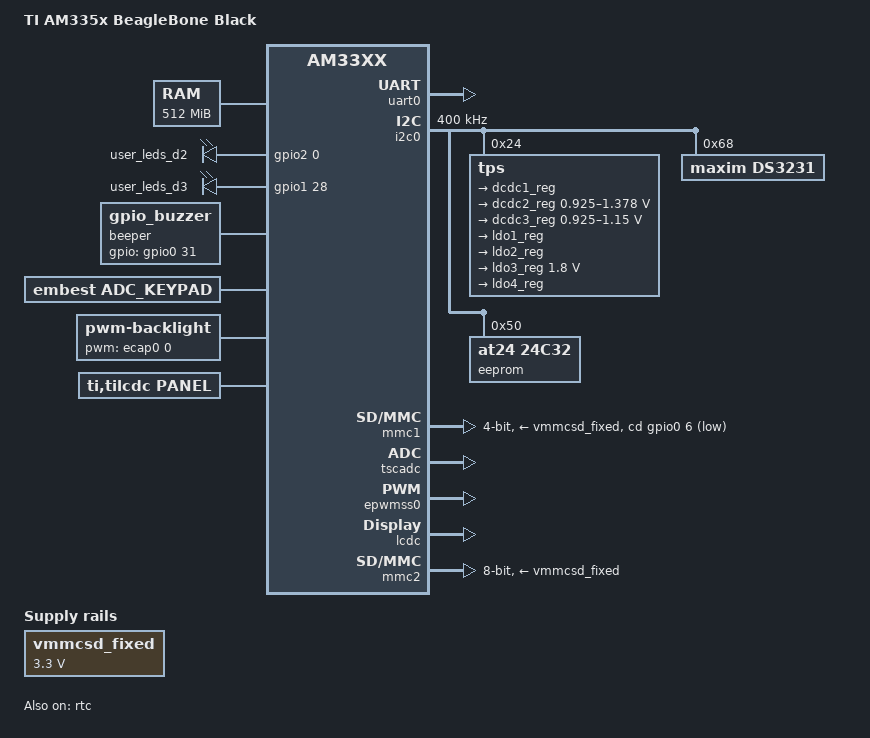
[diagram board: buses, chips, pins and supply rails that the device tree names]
/*
 * Copyright (C) 2015 Embest Technology Co., Ltd., - http://www.embest-tech.com
 *
 * This program is free software; you can redistribute it and/or modify
 * it under the terms of the GNU General Public License version 2 as
 * published by the Free Software Foundation.
 *
 * This dts is for embest own product:
 * SOM-PH8700 + BB-EPH1800
 */
/dts-v1/;

#include "am33xx.dtsi"

/ {
	model = "TI AM335x BeagleBone Black";
	compatible = "ti,am335x-bone-black", "ti,am335x-bone", "ti,am33xx";
	
	cpus {
		cpu@0 {
			cpu0-supply = <&dcdc2_reg>;
		};
	};
	
	memory {
		device_type = "memory";
		reg = <0x80000000 0x20000000>; /* 512 MB */
	};
	
	/* Voltage for mmc1 & mmc2 */
	vmmcsd_fixed: fixedregulator@0 {
		compatible = "regulator-fixed";
		regulator-name = "vmmcsd_fixed";
		regulator-min-microvolt = <3300000>;
		regulator-max-microvolt = <3300000>;
	};

	leds {
		pinctrl-names = "default";
		pinctrl-0 = <&user_leds>;

		compatible = "gpio-leds";

		led1 {
			label = "user_leds_d2";
			gpios = <&gpio2 0 GPIO_ACTIVE_HIGH>;
			linux,default-trigger = "none";
			default-state = "on";
		};

		led2 {
			label = "user_leds_d3";
			gpios = <&gpio1 28 GPIO_ACTIVE_HIGH>;
			linux,default-trigger = "none";
			default-state = "on";
		};
	};

	beeper {
		pinctrl-names = "default";
		pinctrl-0 = <&buzzer_pin>;
		compatible = "gpio_buzzer";
		gpios = <&gpio0 31 GPIO_ACTIVE_HIGH>;
	};

	adc_keypad{
		compatible = "embest, adc_keypad";
		status = "okay";

		key_name = "menu", "back";
		key_num = <2>;
		key_code = <139 102>;
		key_chan = <6 7>;
		key_val = <0 0>; 
		key_tolerance = <200 200>;
	};

	backlight {
		compatible = "pwm-backlight";
		pwms = <&ecap0 0 50000 0>;
		brightness-levels = <0 51 53 56 62 75 101 152 255>;
		default-brightness-level = <8>;
	};

	panel {
		compatible = "ti,tilcdc,panel";
		status = "okay";
		panel-info {
			ac-bias           = <255>;
			ac-bias-intrpt    = <0>;
			dma-burst-sz      = <16>;
			bpp               = <32>;
			fdd               = <0x80>;
			sync-edge         = <0>;
			sync-ctrl         = <1>;
			raster-order      = <0>;
			fifo-th           = <0>;
		};

		display-timings {
			/* This is the timing for 7inch_LCD */
			/*800x480p62 {
				clock-frequency = <36000000>;
				hactive = <800>;
				vactive = <480>;
				hfront-porch = <1>;
				hback-porch = <1>;
				hsync-len = <48>;
				vfront-porch = <12>;
				vback-porch = <25>;
				vsync-len = <5>;
				hsync-active = <0>;
				vsync-active = <0>;
				de-active = <1>;
				pixelclk-active = <1>;
			};*/

			/* This is the timing for 4.3inch_LCD */
			800x480p62 {
				clock-frequency = <30000000>;
				hactive = <480>;
				vactive = <272>;
				hfront-porch = <2>;
				hback-porch = <2>;
				hsync-len = <41>;
				vfront-porch = <2>;
				vback-porch = <2>;
				vsync-len = <10>;
				hsync-active = <0>;
				vsync-active = <0>;
			};

			/*This is the timing for HDMI&VGA*/
			/*1024x768p62 {
				clock-frequency = <80000000>;
				hactive = <1024>;
				vactive = <768>;
				hfront-porch = <18>;
				hback-porch = <297>;
				hsync-len = <53>;
				vfront-porch = <3>;
				vback-porch = <35>;
				vsync-len = <6>;
				hsync-active = <0>;
				vsync-active = <0>;
				de-active = <1>;
				pixelclk-active = <1>;
			};*/
		};
	};
};

&uart0 {
	pinctrl-names = "default";
	pinctrl-0 = <&uart0_pins>;
	status = "okay";
};

&i2c0 {
	pinctrl-names = "default";
	pinctrl-0 = <&i2c0_pins>;

	status = "okay";
	clock-frequency = <400000>;

	tps: tps@24 {
		reg = <0x24>;
	};

	ds3231: ds3231@68 {
		compatible = "maxim,ds3231";
		reg = <0x68>;
		status = "okay";
	};

	eeprom: eeprom@50 {
		compatible = "at24,24c32";
		reg = <0x50>;
	};
};

&mmc1 {
	vmmc-supply = <&vmmcsd_fixed>;
	bus-width = <0x4>;
	pinctrl-names = "default", "sleep";
	pinctrl-0 = <&mmc1_pins_default>;
	pinctrl-1 = <&mmc1_pins_sleep>;
	cd-gpios = <&gpio0 6 GPIO_ACTIVE_HIGH>;
	cd-inverted;
	status = "okay";
};

/* RTC */
&rtc {
	status = "okay";
};

&tscadc {
	status = "okay";

	tsc {
		ti,wires = <4>;
		ti,x-plate-resistance = <200>;
		ti,coordinate-readouts = <5>;
		ti,wire-config = <0x00 0x11 0x22 0x33>;
		ti,charge-delay = <0xf200>;
	};

	adc { 
		ti,adc-channels = <4 5 6 7>;
		ti,chan-step-opendelay = <0x098 0x3ffff 0x098 0x0>;
		ti,chan-step-sampledelay = <0xff 0x0 0xf 0x0>;
		ti,chan-step-avg = <16 2 4 8>; 
	};
};

&epwmss0 {
	status = "okay";

	ecap0: ecap@48300100 {
		status = "okay";
		pinctrl-names = "default";
		pinctrl-0 = <&ecap0_pins_default>;
	};
};

&lcdc {
	status = "okay";
	pinctrl-names = "default";
	pinctrl-0 = <&lcd_pins_default>;
};

/* eMMC sits on mmc2 */
&mmc2 {
	/*
	 * When enabling eMMC, disable GPMC/NAND and set
	 * SelEMMCorNAND to output-high
	 */
	status = "okay";
	vmmc-supply = <&vmmcsd_fixed>;
	bus-width = <8>;
	pinctrl-names = "default";
	pinctrl-0 = <&emmc_pins_default>;
};

/include/ "tps65217.dtsi"

&tps {
	/*
	 * Configure pmic to enter OFF-state instead of SLEEP-state ("RTC-only
	 * mode") at poweroff.  Most BeagleBone versions do not support RTC-only
	 * mode and risk hardware damage if this mode is entered.
	 *
	 * For details, see linux-omap mailing list May 2015 thread
	 *	[PATCH] ARM: dts: am335x-bone* enable pmic-shutdown-controller
	 * In particular, messages:
	 *	http://www.spinics.net/lists/linux-omap/msg118585.html
	 *	http://www.spinics.net/lists/linux-omap/msg118615.html
	 *
	 * You can override this later with
	 *	&tps {  /delete-property/ ti,pmic-shutdown-controller;  }
	 * if you want to use RTC-only mode and made sure you are not affected
	 * by the hardware problems. (Tip: double-check by performing a current
	 * measurement after shutdown: it should be less than 1 mA.)
	 */
	ti,pmic-shutdown-controller;

	regulators {
		dcdc1_reg: regulator@0 {
			regulator-name = "vdds_dpr";
			regulator-always-on;
		};

		dcdc2_reg: regulator@1 {
			/* VDD_MPU voltage limits 0.95V - 1.325V with +/-4% tolerance */
			regulator-name = "vdd_mpu";
			regulator-min-microvolt = <925000>;
			regulator-max-microvolt = <1378000>;
			regulator-boot-on;
			regulator-always-on;
		};

		dcdc3_reg: regulator@2 {
			/* VDD_CORE voltage limits 0.95V - 1.1V with +/-4% tolerance */
			regulator-name = "vdd_core";
			regulator-min-microvolt = <925000>;
			regulator-max-microvolt = <1150000>;
			regulator-boot-on;
			regulator-always-on;
		};

		ldo1_reg: regulator@3 {
			regulator-name = "vio,vrtc,vdds";
			regulator-always-on;
		};

		ldo2_reg: regulator@4 {
			regulator-name = "vdd_3v3aux";
			regulator-always-on;
		};

		ldo3_reg: regulator@5 {
			regulator-name = "vdd_1v8";
			regulator-always-on;
		};

		ldo4_reg: regulator@6 {
			regulator-name = "vdd_3v3a";
			regulator-always-on;
		};
	};
};

&ldo3_reg {
	regulator-min-microvolt = <1800000>;
	regulator-max-microvolt = <1800000>;
	regulator-always-on;
};

&am33xx_pinmux {
	/* UART0 pins: rxd & txd */
	uart0_pins: pinmux_uart0_pins {
		pinctrl-single,pins = <
			0x170 (PIN_INPUT_PULLUP | MUX_MODE0)	/* uart0_rxd.uart0_rxd */
			0x174 (PIN_OUTPUT_PULLDOWN | MUX_MODE0)	/* uart0_txd.uart0_txd */
		>;
	};

	/* I2C0 pins: sda & scl */
	i2c0_pins: pinmux_i2c0_pins {
		pinctrl-single,pins = <
			0x188 (PIN_INPUT_PULLUP | MUX_MODE0)	/* i2c0_sda.i2c0_sda */
			0x18c (PIN_INPUT_PULLUP | MUX_MODE0)	/* i2c0_scl.i2c0_scl */
		>;
	};

	/* MMC1 pins:  data0 - data3; clk; cmd; detect pin */
	mmc1_pins_default: pinmux_mmc1_pins {
		pinctrl-single,pins = <
			0x0F0 (PIN_INPUT_PULLUP | MUX_MODE0)	/* mmc0_dat3.mmc0_dat3 */
			0x0F4 (PIN_INPUT_PULLUP | MUX_MODE0)	/* mmc0_dat2.mmc0_dat2 */
			0x0F8 (PIN_INPUT_PULLUP | MUX_MODE0)	/* mmc0_dat1.mmc0_dat1 */
			0x0FC (PIN_INPUT_PULLUP | MUX_MODE0)	/* mmc0_dat0.mmc0_dat0 */
			0x100 (PIN_INPUT_PULLUP | MUX_MODE0)	/* mmc0_clk.mmc0_clk */
			0x104 (PIN_INPUT_PULLUP | MUX_MODE0)	/* mmc0_cmd.mmc0_cmd */
			0x1A0 (PIN_INPUT_PULLUP | MUX_MODE7)	/* mcasp0_aclkr.gpio3_18 */
			0x160 (PIN_INPUT | MUX_MODE7)		/* spi0_cs1.gpio0_6 */
		>;
	};

	mmc1_pins_sleep: pinmux_mmc1_pins_sleep {
		pinctrl-single,pins = <
			0x0F0 (PIN_INPUT_PULLDOWN | MUX_MODE7)
			0x0F4 (PIN_INPUT_PULLDOWN | MUX_MODE7)
			0x0F8 (PIN_INPUT_PULLDOWN | MUX_MODE7)
			0x0FC (PIN_INPUT_PULLDOWN | MUX_MODE7)
			0x100 (PIN_INPUT_PULLDOWN | MUX_MODE7)
			0x104 (PIN_INPUT_PULLDOWN | MUX_MODE7)
			0x1A0 (PIN_INPUT_PULLDOWN | MUX_MODE7)
			0x160 (PIN_INPUT_PULLDOWN | MUX_MODE7)
		>;
	};

	user_leds: user_leds {
		pinctrl-single,pins = <
			0x088 (PIN_OUTPUT_PULLDOWN | MUX_MODE7)	/* gpmc_csn3.gpio2_0 */
			0x078 (PIN_OUTPUT_PULLDOWN | MUX_MODE7)	/* gpmc_ben1.gpio1_28 */
		>;
	};

	buzzer_pin: buzzer_pin {
		pinctrl-single,pins = <
			0x074 (PIN_OUTPUT_PULLUP | MUX_MODE7)	/* GPMC_WPN.gpio0_31 MODE7 */
		>;
	};

	ecap0_pins_default: backlight_pins {
		pinctrl-single,pins = <
			0x164 0x0	/* eCAP0_in_PWM0_out.eCAP0_in_PWM0_out MODE0 */
		>;
	};

	lcd_pins_default: lcd_pins_default {
		pinctrl-single,pins = <
			0x20 (PIN_OUTPUT | MUX_MODE1)		/* gpmc_ad8.lcd_data23 */
			0x24 (PIN_OUTPUT | MUX_MODE1)		/* gpmc_ad9.lcd_data22 */
			0x28 (PIN_OUTPUT | MUX_MODE1)		/* gpmc_ad10.lcd_data21 */
			0x2c (PIN_OUTPUT | MUX_MODE1)		/* gpmc_ad11.lcd_data20 */
			0x30 (PIN_OUTPUT | MUX_MODE1)		/* gpmc_ad12.lcd_data19 */
			0x34 (PIN_OUTPUT | MUX_MODE1)		/* gpmc_ad13.lcd_data18 */
			0x38 (PIN_OUTPUT | MUX_MODE1)		/* gpmc_ad14.lcd_data17 */
			0x3c (PIN_OUTPUT | MUX_MODE1)		/* gpmc_ad15.lcd_data16 */
			0xa0 (PIN_OUTPUT | MUX_MODE0)		/* lcd_data0.lcd_data0 */
			0xa4 (PIN_OUTPUT | MUX_MODE0)		/* lcd_data1.lcd_data1 */
			0xa8 (PIN_OUTPUT | MUX_MODE0)		/* lcd_data2.lcd_data2 */
			0xac (PIN_OUTPUT | MUX_MODE0)		/* lcd_data3.lcd_data3 */
			0xb0 (PIN_OUTPUT | MUX_MODE0)		/* lcd_data4.lcd_data4 */
			0xb4 (PIN_OUTPUT | MUX_MODE0)		/* lcd_data5.lcd_data5 */
			0xb8 (PIN_OUTPUT | MUX_MODE0)		/* lcd_data6.lcd_data6 */
			0xbc (PIN_OUTPUT | MUX_MODE0)		/* lcd_data7.lcd_data7 */
			0xc0 (PIN_OUTPUT | MUX_MODE0)		/* lcd_data8.lcd_data8 */
			0xc4 (PIN_OUTPUT | MUX_MODE0)		/* lcd_data9.lcd_data9 */
			0xc8 (PIN_OUTPUT | MUX_MODE0)		/* lcd_data10.lcd_data10 */
			0xcc (PIN_OUTPUT | MUX_MODE0)		/* lcd_data11.lcd_data11 */
			0xd0 (PIN_OUTPUT | MUX_MODE0)		/* lcd_data12.lcd_data12 */
			0xd4 (PIN_OUTPUT | MUX_MODE0)		/* lcd_data13.lcd_data13 */
			0xd8 (PIN_OUTPUT | MUX_MODE0)		/* lcd_data14.lcd_data14 */
			0xdc (PIN_OUTPUT | MUX_MODE0)		/* lcd_data15.lcd_data15 */
			0xe0 (PIN_OUTPUT | MUX_MODE0)		/* lcd_vsync.lcd_vsync */
			0xe4 (PIN_OUTPUT | MUX_MODE0)		/* lcd_hsync.lcd_hsync */
			0xe8 (PIN_OUTPUT | MUX_MODE0)		/* lcd_pclk.lcd_pclk */
			0xec (PIN_OUTPUT | MUX_MODE0)		/* lcd_ac_bias_en.lcd_ac_bias_en */
		>;
	};

	/* eMMC pins:  data0 - data7; clk; cmd;  */
	emmc_pins_default: emmc_pins_default {
		pinctrl-single,pins = <
			0x00 (PIN_INPUT_PULLUP | MUX_MODE1) /* gpmc_ad0.mmc1_dat0 */
			0x04 (PIN_INPUT_PULLUP | MUX_MODE1) /* gpmc_ad1.mmc1_dat1 */
			0x08 (PIN_INPUT_PULLUP | MUX_MODE1) /* gpmc_ad2.mmc1_dat2 */
			0x0c (PIN_INPUT_PULLUP | MUX_MODE1) /* gpmc_ad3.mmc1_dat3 */
			0x10 (PIN_INPUT_PULLUP | MUX_MODE1) /* gpmc_ad4.mmc1_dat4 */
			0x14 (PIN_INPUT_PULLUP | MUX_MODE1) /* gpmc_ad5.mmc1_dat5 */
			0x18 (PIN_INPUT_PULLUP | MUX_MODE1) /* gpmc_ad6.mmc1_dat6 */
			0x1c (PIN_INPUT_PULLUP | MUX_MODE1) /* gpmc_ad7.mmc1_dat7 */
			0x80 (PIN_INPUT_PULLUP | MUX_MODE2) /* gpmc_csn1.mmc1_clk */
			0x84 (PIN_INPUT_PULLUP | MUX_MODE2) /* gpmc_csn2.mmc1_cmd */
		>;
	};
};
